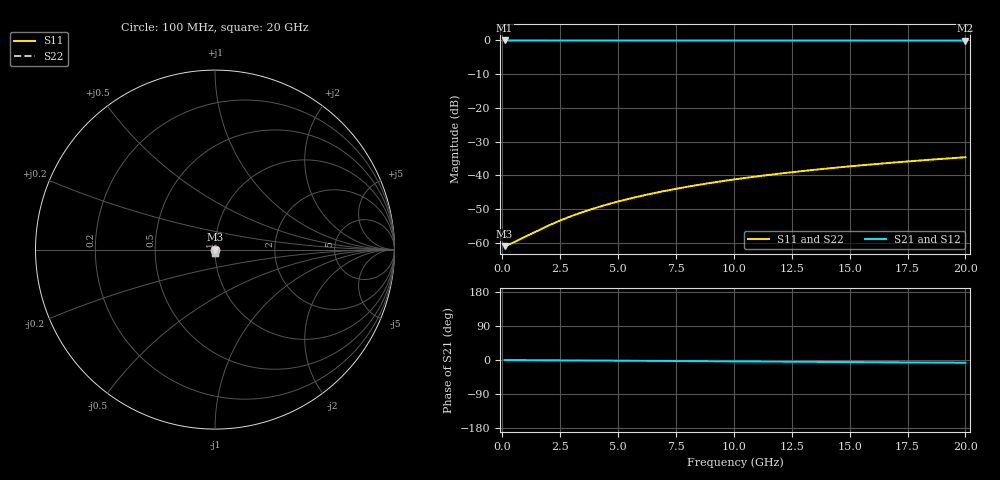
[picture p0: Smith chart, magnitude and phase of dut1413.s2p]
! Touchstone file exported from HFSS 2026.1.0
!  File:  C:/ffzhzh/LocalFiles/Ansys_Project_Files/temp_train_TSV_1413_1783197119_18472.aedt
!  Generated:  04:33:59 AM Jul  5, 2026
!  Design:  TSV
!  Project:  temp_train_TSV_1413_1783197119_18472
! Variables:
!  h_bsmrdl = 2um
!  h_ox = 20um
!  h_rdl = 5um
!  h_sub = 78.41um
!  h_tmrdl = 5um
!  h_tsv = 78.41um
!  h_via = 3um
!  l_bsmrdl = 300um
!  l_sub = 406.46um
!  l_tmrdl = 200um
!  m_sub = 200um
!  pitch = 11.36um
!  r_tsv = 3.23um
!  s_tmrdl = 10um
!  w_bsmrdl = 18um
!  w_sub = 500um
!  w_tmrdl = 12um
!  x_tsv_center1 = 206um
!  x_tsv_center2 = 524um
!  x_tsv_center3 = 736um
!  x_tsv_center4 = 1054um
!  x_tsv_center5 = 1266um
!  x_tsv_center6 = 1584um
# GHz S MA R 50.000000
! Terminal data exported
! Port[1] = TSV1_1_T1
! Port[2] = TSV1_1_T2
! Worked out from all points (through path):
!   200 points, 100 MHz to 20 GHz, reference 50 ohm
!   highest |S21| = -0.01 dB at 100 MHz (marker M1); lowest = 0.0 dB at 20 GHz (marker M2)
!   lowest |S11| = -61.0 dB at 100 MHz (marker M3), VSWR 1.00, Z = 50.1 - j0.00337 ohm
!   |S11| at or under -10 dB: start of sweep to end of sweep
!   |S22| runs from -61.0 to -34.6 dB; largest |S21 - S12| = 4.6e-15
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0.1  0.0008912 -2.2  0.9991 -0.0  0.9991 -0.0  0.0008912 -2.2
! Gamma 0 0 0 0
! Port Impedance 50 0 50 0
0.2  0.0009154 -4.8  0.9991 -0.1  0.9991 -0.1  0.0009154 -4.8
0.4  0.0009833 -11.6  0.999 -0.2  0.999 -0.2  0.0009833 -11.6
0.9  0.001186 -28.8  0.999 -0.3  0.999 -0.3  0.001186 -28.8
1.7  0.001615 -46.7  0.9989 -0.6  0.9989 -0.6  0.001615 -46.7
2.2  0.001935 -53.4  0.9988 -0.8  0.9988 -0.8  0.001935 -53.4
2.8  0.002353 -58.9  0.9987 -1.0  0.9987 -1.0  0.002353 -58.9
3.5  0.002876 -63.2  0.9986 -1.3  0.9986 -1.3  0.002876 -63.2
4.2  0.003429 -66.2  0.9985 -1.6  0.9985 -1.6  0.003429 -66.2
5  0.004091 -68.7  0.9984 -1.8  0.9984 -1.8  0.004091 -68.7
5.9  0.004869 -70.9  0.9982 -2.2  0.9982 -2.2  0.004869 -70.9
6.8  0.005674 -72.6  0.9981 -2.5  0.9981 -2.5  0.005674 -72.6
7.6  0.006408 -73.9  0.9979 -2.8  0.9979 -2.8  0.006408 -73.9
8.4  0.007156 -75.1  0.9978 -3.1  0.9978 -3.1  0.007157 -75.1
9.2  0.007916 -76.2  0.9976 -3.4  0.9976 -3.4  0.007916 -76.2
10.1  0.00878 -77.3  0.9975 -3.7  0.9975 -3.7  0.00878 -77.3
11.7  0.01034 -79.1  0.9973 -4.3  0.9973 -4.3  0.01034 -79.1
13.4  0.01201 -80.8  0.997 -4.9  0.997 -4.9  0.01201 -80.8
15  0.01359 -82.3  0.9968 -5.4  0.9968 -5.4  0.01359 -82.3
16.7  0.01528 -83.7  0.9966 -6.0  0.9966 -6.0  0.01528 -83.7
18.3  0.01687 -84.9  0.9964 -6.6  0.9964 -6.6  0.01687 -84.9
20  0.01856 -86.0  0.9962 -7.2  0.9962 -7.2  0.01856 -86.0
